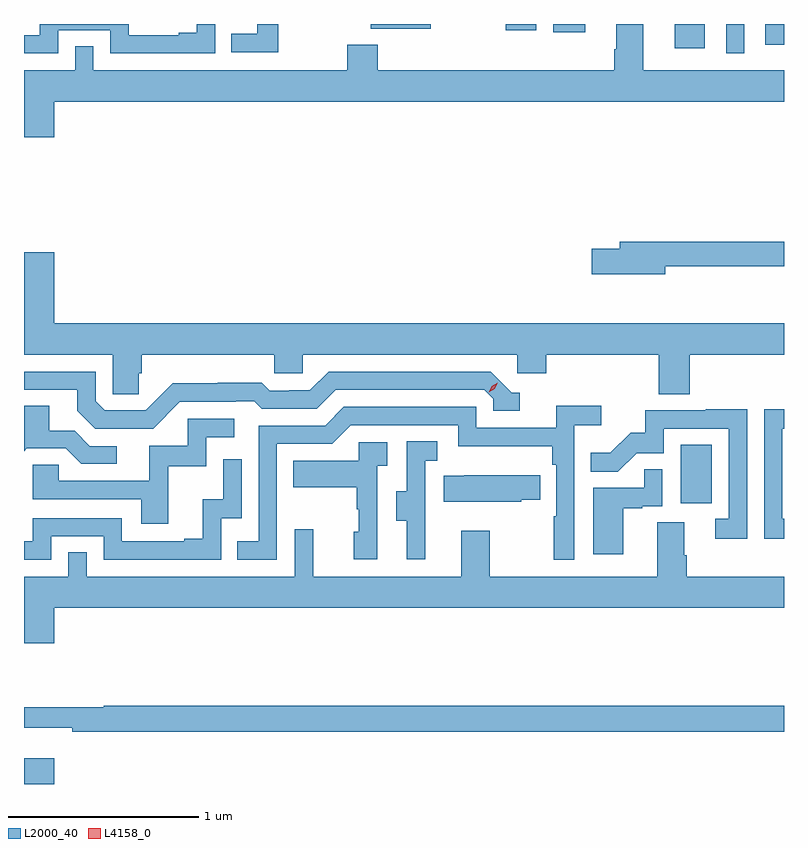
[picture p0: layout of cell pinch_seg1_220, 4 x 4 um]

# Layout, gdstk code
import gdstk
lib = gdstk.Library(unit=1e-6, precision=1e-09)
def R(c, l, rs):  # rectangles x0, y0, x1, y1
    for r in rs: c.add(gdstk.rectangle(r[:2], r[2:], *l))
def P(c, l, *ps):  # polygons
    for p in ps: c.add(gdstk.Polygon(p, *l))
L2000_40 = (2000, 40)
L4158_0 = (4158, 0)

pinch_seg1_220 = lib.new_cell('pinch_seg1_220')
R(pinch_seg1_220, L2000_40, [(980.197,562.792,980.356,562.927), (983.654,564.27,983.818,564.577), (983.892,566.637,983.988,566.792), (983.621,566.664,983.779,566.792), (984.098,566.682,984.197,566.792), (982.983,566.748,983.152,566.792), (982.733,566.76,982.894,566.792), (982.021,566.768,982.339,566.792)])
P(pinch_seg1_220, L2000_40, [(980.356,566.384),(984.197,566.384),(984.197,566.548),(983.455,566.548),(983.455,566.792),(983.315,566.792),(983.315,566.66),(983.303,566.66),(983.303,566.548),(982.058,566.548),(982.058,566.683),(981.898,566.683),(981.898,566.548),(980.562,566.548),(980.562,566.675),(980.466,566.675),(980.466,566.548),(980.197,566.548),(980.197,566.196),(980.356,566.196)],
  [(980.376,566.76),(980.652,566.76),(980.652,566.637),(981.204,566.637),(981.204,566.792),(981.107,566.792),(981.107,566.746),(981.011,566.746),(981.011,566.733),(980.748,566.733),(980.748,566.792),(980.28,566.792),(980.28,566.733),(980.197,566.733),(980.197,566.637),(980.376,566.637)],
  [(981.535,566.792),(981.424,566.792),(981.424,566.74),(981.289,566.74),(981.289,566.643),(981.535,566.643)],
  [(983.572,565.518),(984.197,565.518),(984.197,565.646),(983.333,565.646),(983.333,565.61),(983.184,565.61),(983.184,565.475),(983.572,565.475)],
  [(980.801,564.954),(980.816,564.954),(980.816,565.052),(981.513,565.052),(981.513,564.954),(981.663,564.954),(981.663,565.052),(982.794,565.052),(982.794,564.954),(982.946,564.954),(982.946,565.052),(983.537,565.052),(983.537,564.844),(983.702,564.844),(983.702,565.052),(984.197,565.052),(984.197,565.216),(980.356,565.216),(980.356,565.591),(980.197,565.591),(980.197,565.052),(980.664,565.052),(980.664,564.844),(980.801,564.844)],
  [(981.018,564.804),(981.311,564.804),(981.311,564.807),(981.41,564.807),(981.449,564.768),(981.738,564.768),(981.837,564.867),(982.62,564.867),(982.668,564.819),(982.668,564.756),(982.807,564.756),(982.807,564.852),(982.764,564.852),(982.653,564.963),(981.8,564.963),(981.701,564.864),(981.594,564.864),(981.594,564.861),(981.491,564.861),(981.449,564.904),(981.216,564.904),(981.216,564.901),(980.98,564.901),(980.838,564.759),(980.622,564.759),(980.574,564.807),(980.574,564.963),(980.197,564.963),(980.197,564.867),(980.477,564.867),(980.477,564.757),(980.571,564.663),(980.877,564.663)],
  [(981.528,564.582),(981.819,564.582),(981.918,564.681),(982.482,564.681),(982.482,564.569),(982.978,564.569),(982.978,564.473),(982.998,564.473),(982.998,564.2),(982.986,564.2),(982.986,563.973),(983.094,563.973),(983.094,564.68),(983.236,564.68),(983.236,564.782),(982.997,564.782),(982.997,564.666),(982.578,564.666),(982.578,564.777),(981.881,564.777),(981.782,564.678),(981.432,564.678),(981.432,564.069),(981.319,564.069),(981.319,563.973),(981.528,563.973)],
  [(980.686,564.57),(980.544,564.57),(980.464,564.65),(980.329,564.65),(980.329,564.782),(980.197,564.782),(980.197,564.544),(980.211,564.558),(980.417,564.558),(980.498,564.477),(980.686,564.477)],
  [(984.003,564.764),(983.785,564.764),(983.785,564.759),(983.467,564.759),(983.467,564.642),(983.39,564.642),(983.283,564.535),(983.179,564.535),(983.179,564.436),(983.323,564.436),(983.421,564.534),(983.565,564.534),(983.565,564.663),(983.907,564.663),(983.907,564.189),(983.835,564.189),(983.835,564.084),(984.003,564.084)],
  [(984.197,564.189),(984.189,564.189),(984.189,564.663),(984.197,564.663),(984.197,564.764),(984.093,564.764),(984.093,564.084),(984.197,564.084)],
  [(980.957,564.465),(981.156,564.465),(981.156,564.618),(981.304,564.618),(981.304,564.714),(981.06,564.714),(981.06,564.573),(980.855,564.573),(980.855,564.387),(980.381,564.387),(980.381,564.471),(980.244,564.471),(980.244,564.291),(980.813,564.291),(980.813,564.162),(980.957,564.162)],
  [(982.31,564.189),(982.308,564.189),(982.308,564.493),(982.372,564.493),(982.372,564.596),(982.212,564.596),(982.212,564.333),(982.157,564.333),(982.157,564.178),(982.211,564.178),(982.211,563.976),(982.31,563.976)],
  [(982.056,564.467),(982.108,564.467),(982.108,564.591),(981.96,564.591),(981.96,564.493),(981.613,564.493),(981.613,564.353),(981.948,564.353),(981.948,564.239),(981.958,564.239),(981.958,564.12),(981.932,564.12),(981.932,563.976),(982.056,563.976)],
  [(980.34,564.096),(980.616,564.096),(980.616,563.973),(981.234,563.973),(981.234,564.192),(981.342,564.192),(981.342,564.502),(981.246,564.502),(981.246,564.29),(981.137,564.29),(981.137,564.082),(981.041,564.082),(981.041,564.069),(980.712,564.069),(980.712,564.192),(980.244,564.192),(980.244,564.069),(980.197,564.069),(980.197,563.973),(980.34,563.973)],
  [(983.35,564.243),(983.45,564.243),(983.45,564.255),(983.556,564.255),(983.556,564.449),(983.461,564.449),(983.461,564.351),(983.192,564.351),(983.192,564),(983.35,564)],
  [(982.815,564.289),(982.913,564.289),(982.913,564.418),(982.513,564.418),(982.513,564.415),(982.405,564.415),(982.405,564.278),(982.815,564.278)],
  [(984.197,563.884),(983.684,563.884),(983.684,563.996),(983.671,563.996),(983.671,564.17),(983.531,564.17),(983.531,563.884),(982.647,563.884),(982.647,564.124),(982.499,564.124),(982.499,563.884),(981.719,563.884),(981.719,564.133),(981.621,564.133),(981.621,563.884),(980.526,563.884),(980.526,564.011),(980.43,564.011),(980.43,563.884),(980.197,563.884),(980.197,563.532),(980.356,563.532),(980.356,563.72),(984.197,563.72)],
  [(984.197,563.204),(980.618,563.204),(980.618,563.197),(980.197,563.197),(980.197,563.087),(980.452,563.087),(980.452,563.068),(984.197,563.068)])
P(pinch_seg1_220, L4158_0, [(982.644,564.853),(982.644,564.853),(982.66,564.885),(982.691,564.905),(982.691,564.905),(982.691,564.905),(982.675,564.872),(982.644,564.853)])

lib.write_gds('pinch_seg1_220.gds')
